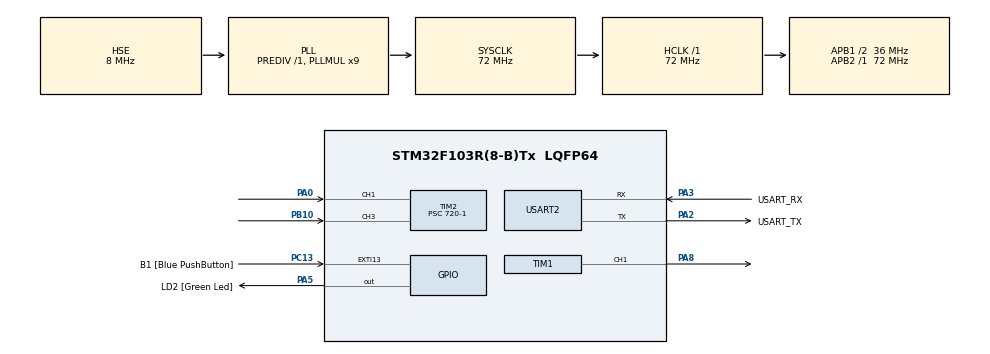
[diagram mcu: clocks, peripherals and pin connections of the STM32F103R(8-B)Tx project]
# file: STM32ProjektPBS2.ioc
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Dma.Request0=USART2_RX
Dma.Request1=USART2_TX
Dma.Request2=TIM1_CH1
Dma.Request3=TIM2_CH1
Dma.Request4=TIM2_CH3
Dma.TIM1_CH1.2.Direction=DMA_MEMORY_TO_PERIPH
Dma.TIM1_CH1.2.Instance=DMA1_Channel2
Dma.TIM1_CH1.2.MemDataAlignment=DMA_MDATAALIGN_HALFWORD
Dma.TIM1_CH1.2.MemInc=DMA_MINC_ENABLE
Dma.TIM1_CH1.2.Mode=DMA_CIRCULAR
Dma.TIM1_CH1.2.PeriphDataAlignment=DMA_PDATAALIGN_HALFWORD
Dma.TIM1_CH1.2.PeriphInc=DMA_PINC_DISABLE
Dma.TIM1_CH1.2.Priority=DMA_PRIORITY_LOW
Dma.TIM2_CH1.3.Direction=DMA_PERIPH_TO_MEMORY
Dma.TIM2_CH1.3.Instance=DMA1_Channel5
Dma.TIM2_CH1.3.MemDataAlignment=DMA_MDATAALIGN_HALFWORD
Dma.TIM2_CH1.3.MemInc=DMA_MINC_ENABLE
Dma.TIM2_CH1.3.Mode=DMA_NORMAL
Dma.TIM2_CH1.3.PeriphDataAlignment=DMA_PDATAALIGN_HALFWORD
Dma.TIM2_CH1.3.PeriphInc=DMA_PINC_DISABLE
Dma.TIM2_CH1.3.Priority=DMA_PRIORITY_LOW
Dma.TIM2_CH3.4.Direction=DMA_PERIPH_TO_MEMORY
Dma.TIM2_CH3.4.Instance=DMA1_Channel1
Dma.TIM2_CH3.4.MemDataAlignment=DMA_MDATAALIGN_HALFWORD
Dma.TIM2_CH3.4.MemInc=DMA_MINC_ENABLE
Dma.TIM2_CH3.4.Mode=DMA_NORMAL
Dma.TIM2_CH3.4.PeriphDataAlignment=DMA_PDATAALIGN_HALFWORD
Dma.TIM2_CH3.4.PeriphInc=DMA_PINC_DISABLE
Dma.TIM2_CH3.4.Priority=DMA_PRIORITY_LOW
Dma.USART2_RX.0.Direction=DMA_PERIPH_TO_MEMORY
Dma.USART2_RX.0.Instance=DMA1_Channel6
Dma.USART2_RX.0.MemDataAlignment=DMA_MDATAALIGN_BYTE
Dma.USART2_RX.0.MemInc=DMA_MINC_ENABLE
Dma.USART2_RX.0.Mode=DMA_CIRCULAR
Dma.USART2_RX.0.PeriphDataAlignment=DMA_PDATAALIGN_BYTE
Dma.USART2_RX.0.PeriphInc=DMA_PINC_DISABLE
Dma.USART2_RX.0.Priority=DMA_PRIORITY_LOW
Dma.USART2_TX.1.Direction=DMA_MEMORY_TO_PERIPH
Dma.USART2_TX.1.Instance=DMA1_Channel7
Dma.USART2_TX.1.MemDataAlignment=DMA_MDATAALIGN_BYTE
Dma.USART2_TX.1.MemInc=DMA_MINC_ENABLE
Dma.USART2_TX.1.Mode=DMA_CIRCULAR
Dma.USART2_TX.1.PeriphDataAlignment=DMA_PDATAALIGN_BYTE
Dma.USART2_TX.1.PeriphInc=DMA_PINC_DISABLE
Dma.USART2_TX.1.Priority=DMA_PRIORITY_LOW
Mcu.Family=STM32F1
Mcu.Name=STM32F103R(8-B)Tx
Mcu.Package=LQFP64
NVIC.DMA1_Channel1_IRQn=true\:0\:0\:false\:false\:true\:false\:true\:true
NVIC.DMA1_Channel2_IRQn=true\:0\:0\:false\:false\:true\:false\:true\:true
NVIC.DMA1_Channel5_IRQn=true\:0\:0\:false\:false\:true\:false\:true\:true
NVIC.DMA1_Channel6_IRQn=true\:0\:0\:false\:false\:true\:false\:true\:true
NVIC.DMA1_Channel7_IRQn=true\:0\:0\:false\:false\:true\:false\:true\:true
NVIC.EXTI15_10_IRQn=true\:0\:0\:false\:false\:true\:true\:true\:true
NVIC.PriorityGroup=NVIC_PRIORITYGROUP_4
NVIC.USART2_IRQn=true\:0\:0\:false\:false\:true\:true\:true\:true
PA0-WKUP.Signal=S_TIM2_CH1_ETR
PA13.GPIO_Label=TMS
PA13.Mode=Serial_Wire
PA13.Signal=SYS_JTMS-SWDIO
PA14.GPIO_Label=TCK
PA14.Mode=Serial_Wire
PA14.Signal=SYS_JTCK-SWCLK
PA2.GPIO_Label=USART_TX
PA2.GPIO_Mode=GPIO_MODE_AF_PP
PA2.GPIO_PuPd=GPIO_NOPULL
PA2.GPIO_Speed=GPIO_SPEED_FREQ_LOW
PA2.Mode=Asynchronous
PA2.Signal=USART2_TX
PA3.GPIO_Label=USART_RX
PA3.GPIO_Mode=GPIO_MODE_AF_PP
PA3.GPIO_PuPd=GPIO_NOPULL
PA3.GPIO_Speed=GPIO_SPEED_FREQ_LOW
PA3.Mode=Asynchronous
PA3.Signal=USART2_RX
PA5.GPIO_Label=LD2 [Green Led]
PA5.GPIO_ModeDefaultOutputPP=GPIO_MODE_OUTPUT_PP
PA5.GPIO_PuPd=GPIO_NOPULL
PA5.GPIO_Speed=GPIO_SPEED_FREQ_LOW
PA5.Signal=GPIO_Output
PA8.Signal=S_TIM1_CH1
PB10.Signal=S_TIM2_CH3
PB3.GPIO_Label=SWO
PB3.Signal=SYS_JTDO-TRACESWO
PC13-TAMPER-RTC.GPIO_Label=B1 [Blue PushButton]
PC13-TAMPER-RTC.GPIO_PuPd=GPIO_NOPULL
PC13-TAMPER-RTC.Signal=GPXTI13
PC14-OSC32_IN.Signal=RCC_OSC32_IN
PC15-OSC32_OUT.Signal=RCC_OSC32_OUT
PD0-OSC_IN.Mode=HSE-External-Oscillator
PD0-OSC_IN.Signal=RCC_OSC_IN
PD1-OSC_OUT.Mode=HSE-External-Oscillator
PD1-OSC_OUT.Signal=RCC_OSC_OUT
ProjectManager.HeapSize=0x200
ProjectManager.StackSize=0x400
ProjectManager.TargetToolchain=STM32CubeIDE
RCC.AHBFreq_Value=72000000
RCC.APB1CLKDivider=RCC_HCLK_DIV2
RCC.APB1Freq_Value=36000000
RCC.APB1TimFreq_Value=72000000
RCC.APB2Freq_Value=72000000
RCC.APB2TimFreq_Value=72000000
RCC.HCLKFreq_Value=72000000
RCC.PLLMUL=RCC_PLL_MUL9
RCC.PLLSourceVirtual=RCC_PLLSOURCE_HSE
RCC.RTCClockSelection=RCC_RTCCLKSOURCE_LSE
RCC.SYSCLKFreq_VALUE=72000000
RCC.SYSCLKSource=RCC_SYSCLKSOURCE_PLLCLK
RCC.USBFreq_Value=72000000
SH.S_TIM1_CH1.0=TIM1_CH1,PWM Generation1 CH1
SH.S_TIM2_CH1_ETR.0=TIM2_CH1,Input_Capture1_from_TI1
SH.S_TIM2_CH3.0=TIM2_CH3,Input_Capture3_from_TI3
TIM1.Channel-PWM\ Generation1\ CH1=TIM_CHANNEL_1
TIM1.OCIdleState_1=TIM_OCIDLESTATE_RESET
TIM1.Period=999
TIM1.Prescaler=720-1
TIM2.Channel-Input_Capture1_from_TI1=TIM_CHANNEL_1
TIM2.Channel-Input_Capture3_from_TI3=TIM_CHANNEL_3
TIM2.Period=65535
TIM2.Prescaler=720-1
USART2.VirtualMode=VM_ASYNC
VP_CRC_VS_CRC.Mode=CRC_Activate
VP_TIM1_VS_ClockSourceINT.Mode=Internal
VP_TIM2_VS_ClockSourceINT.Mode=Internal
board=NUCLEO-F103RB

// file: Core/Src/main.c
/* USER CODE BEGIN Header */
/**
  ******************************************************************************
  * @file           : main.c
  * @brief          : Main program body
  ******************************************************************************
  * @attention
  *
  * Copyright (c) 2022 STMicroelectronics.
  * All rights reserved.
  *
  * This software is licensed under terms that can be found in the LICENSE file
  * in the root directory of this software component.
  * If no LICENSE file comes with this software, it is provided AS-IS.
  *
  ******************************************************************************
  */
/* USER CODE END Header */
#include "main.h"

/* USER CODE BEGIN Includes */
#include <stdint.h>
#include <stdio.h>
#include <string.h>
#include <stdarg.h>
#include <math.h>
/* USER CODE END Includes */

CRC_HandleTypeDef hcrc;

TIM_HandleTypeDef htim1;
TIM_HandleTypeDef htim2;
DMA_HandleTypeDef hdma_tim1_ch1;
DMA_HandleTypeDef hdma_tim2_ch1;
DMA_HandleTypeDef hdma_tim2_ch3;

UART_HandleTypeDef huart2;
DMA_HandleTypeDef hdma_usart2_rx;
DMA_HandleTypeDef hdma_usart2_tx;

/* USER CODE BEGIN PV */

#define BUFF_SIZE 512
#define USART_TXBUF_LEN 128
#define USART_RXBUF_LEN 256

/*	Bufor odbiorczy	*/
uint8_t USART_RxBuf[USART_RXBUF_LEN];
__IO int USART_RX_Empty = 0; //wskaznik zapisu
__IO int USART_RX_Busy = 0; //wskaznik odczytu

/*	Bufor nadawczy	*/
uint8_t USART_TxBuf[USART_TXBUF_LEN];
__IO int USART_TX_Empty = 0;
__IO int USART_TX_Busy = 0;

/*	Ramka	*/
uint8_t buforRamki[USART_RXBUF_LEN];
uint8_t stan = 0;

char device_address[4]="STM";
char source_address[4]="USR";
char destination_address[4];
uint16_t dlugoscRamki = 0;
int cmdLength;
uint8_t znak;
char wiadomosc[USART_RXBUF_LEN];

//======= ZMIENNE - suma kontrolna ===========
char suma_kontrolna[6];
uint16_t suma_wyliczona = 0;
int podana_suma_kontrolna=0;

/*	Zegar	*/
uint16_t buffT1[BUFF_SIZE];
uint32_t IC_Values[2] = {0, 0};  // Bufor DMA: [0] - period, [1] - duty
uint32_t pwmPeriod = 0;          // Zmienna przechowująca okres sygnału PWM
uint32_t pwmDuty = 0;            // Zmienna przechowująca szerokość impulsu (duty cycle)
uint16_t pwmBuffer[BUFF_SIZE];
uint32_t setFrequency = 0;

/* USER CODE END PV */

void SystemClock_Config(void);
static void MX_GPIO_Init(void);
static void MX_DMA_Init(void);
static void MX_USART2_UART_Init(void);
static void MX_TIM1_Init(void);
static void MX_TIM2_Init(void);
static void MX_CRC_Init(void);

/* USER CODE BEGIN 0 */

//	Liczenie sumy
uint16_t CRC16(const char *data, size_t length) {
    uint16_t crc = 0xFFFF; // Wartość początkowa
    uint16_t poly = 0xA001; // Polinom CRC16

    for (size_t i = 0; i < length; i++) {
        crc ^= (uint16_t)data[i]; // XOR z bieżącym bajtem

        for (int j = 0; j < 8; j++) { // 8 iteracji dla każdego bitu bajtu
            if (crc & 0x0001) {
                crc = (crc >> 1) ^ poly; // XOR z polinomem, gdy najniższy bit jest ustawiony
            } else {
                crc >>= 1; // Przesunięcie w prawo
            }
        }
    }
    return crc; // Zwróć wynik w 16 bitach
}

//		Obsługa przerwań
/*  USART CALLABACK ODBIOR	*/
void HAL_UART_RxCpltCallback(UART_HandleTypeDef *huart){
	if(huart == &huart2){
		USART_RX_Empty++;
		if(USART_RX_Empty >= USART_RXBUF_LEN)
			USART_RX_Empty = 0;
		HAL_UART_Receive_IT(&huart2, &USART_RxBuf[USART_RX_Empty], 1);
	}
}

/*  USART CALLABACK NADAWAWNIE	*/
void HAL_UART_TxCpltCallback(UART_HandleTypeDef *huart){
	if(huart == &huart2){
		if(USART_TX_Empty != USART_TX_Busy){
			uint8_t tmp = USART_TxBuf[USART_TX_Busy];
			USART_TX_Busy++;
			if(USART_TX_Busy >= USART_TXBUF_LEN)
				USART_TX_Busy = 0;
			HAL_UART_Transmit_IT(&huart2, &tmp, 1);
		}
	}
}

/* Obsługa timerów*/

void HAL_DMA_TxHalfCpltCallback(DMA_HandleTypeDef *hdma) {
    if (hdma == &hdma_tim1_ch1) {
        // Aktualizacja danych w pierwszej połowie bufora
        for (int i = 0; i < BUFF_SIZE / 2; i++) {
            buffT1[i] = (i % 100) + 100;
        }
    }
}

void HAL_DMA_TxCpltCallback(DMA_HandleTypeDef *hdma) {
    if (hdma == &hdma_tim1_ch1) {
        // Aktualizacja danych w drugiej połowie bufora
        for (int i = BUFF_SIZE / 2; i < BUFF_SIZE; i++) {
            buffT1[i] = (i % 100) + 200;
        }
    }
}

void HAL_TIM_PeriodElapsedCallback(TIM_HandleTypeDef *htim) {
    if (htim->Instance == TIM2) {
        pwmPeriod = IC_Values[0]; // Okres PWM
        pwmDuty = IC_Values[1];   // Szerokość impulsu PWM (wypełnienie)
    }
}

/*	USART_fsend	*/
void USART_fsend(char* format, ...){
	char tmp_rs[128];
	int i;
	__IO int idx;
	va_list arglist; //tworzenie listy argumentów
	va_start(arglist, format);
	vsprintf(tmp_rs, format, arglist); //przenoszenie danych z listy do tablicy
	va_end(arglist);
	idx = USART_TX_Empty; //przypisywanie pozycji wskaźnika do wskaźnika pomocniczego

	for(i=0; i<strlen(tmp_rs); i++){ //przenoszenie danych do bufora
		USART_TxBuf[idx] = tmp_rs[i]; // Zapisanie danych do bufora nadawczego
		idx++;
		if(idx >= USART_TXBUF_LEN) //sprawdzanie zakresu wskaźnika
			idx = 0;
	}
	__disable_irq();
	if((USART_TX_Empty == USART_TX_Busy) && (__HAL_UART_GET_FLAG(&huart2, UART_FLAG_TXE) == SET)){
		USART_TX_Empty = idx; // Aktualizacja wskaźnika pustego
		uint8_t tmp = USART_TxBuf[USART_TX_Busy]; // Pobranie pierwszego bajtu do wysyłki
		USART_TX_Busy++;
		if(USART_TX_Busy >= USART_TXBUF_LEN) //// Obsługa przepełnienia wskaźnika
			USART_TX_Busy = 0;
		HAL_UART_Transmit_IT(&huart2, &tmp, 1);
	}else{
		USART_TX_Empty = idx;
	}
	__enable_irq();
}

/*   Analiza komendy / Obsługa rozkazów   */
void analizaKomendy(char cmd[]) {
	if (!strncmp(cmd, "SET_PWM", 7)) {
	    uint16_t newDuty = atoi(&cmd[7]);

	    if (newDuty <= 100) {  // Wypełnienie w % (0-100%)
	        uint32_t period = __HAL_TIM_GET_AUTORELOAD(&htim1); // Pobranie aktualnego okresu
	        uint32_t ccr = (newDuty * (period + 1)) / 100; // Obliczenie wartości CCR

	        __HAL_TIM_SET_COMPARE(&htim1, TIM_CHANNEL_1, ccr); // Ustawienie nowego wypełnienia PWM

	        uint8_t data[20];
	        snprintf((char*)data, sizeof(data), "CURRENT_PWM:%u", newDuty);
	        uint16_t checksum = CRC16(data, strlen((char*)data));
	        sprintf(wiadomosc, "!%s%s%05uCURRENT_PWM:%u;\r\n", device_address, source_address, checksum, newDuty);
	        USART_fsend(wiadomosc);
	    } else {
	        errorKomenda();
	    }

    } else if (!strncmp(cmd, "SET_FREQ", 8)) {
        uint32_t newFreq = atoi(&cmd[8]);
        if (newFreq > 0 && newFreq <= 36000000) { // Możemy ustawić do 36 MHz
            uint32_t prescaler = 0;
            uint32_t period;

            // Automatyczne dobieranie preskalera i ARR
            while ((72000000 / (prescaler + 1)) > (newFreq * 65536)) {
                prescaler++;
            }

            period = (72000000 / ((prescaler + 1) * newFreq)) - 1;
            __HAL_TIM_SET_PRESCALER(&htim1, prescaler);
            __HAL_TIM_SET_AUTORELOAD(&htim1, period);

            setFrequency=newFreq;

            uint8_t data[20];
            snprintf((char*)data, sizeof(data), "CURRENT_FREQ:%lu", newFreq);
            uint16_t checksum = CRC16(data, strlen((char*)data));
            sprintf(wiadomosc, "!%s%s%05uCURRENT_FREQ:%lu;\r\n", device_address, source_address, checksum, newFreq);
            USART_fsend(wiadomosc);
        } else {
            errorKomenda();
        }

    } else if (!strncmp(cmd, "GET_IN_PWM", 10)) { // Pobranie aktualnego okresu i wypełnienia PWM
        uint32_t frequency;
        uint32_t duty_cycle;

        if (pwmPeriod > 0) {
            // Obliczenie częstotliwości i wypełnienia na podstawie DMA
            frequency = 72000000 / pwmPeriod;
            duty_cycle = (pwmDuty * 100) / pwmPeriod; // Pełne % wypełnienia
        } else {
            // Brak sygnału wejściowego – zwróć ostatnio ustawioną wartość częstotliwości
            frequency = setFrequency;
            duty_cycle = (__HAL_TIM_GET_COMPARE(&htim1, TIM_CHANNEL_1) * 100) / (__HAL_TIM_GET_AUTORELOAD(&htim1) + 1);
        }

        uint8_t data[40];
        snprintf((char*)data, sizeof(data), "FREQ:%luHz DUTY:%lu%%", frequency, duty_cycle);
        uint16_t checksum = CRC16(data, strlen((char*)data));

        sprintf(wiadomosc, "!%s%s%05uFREQ:%luHz DUTY:%lu%%;\r\n",
                device_address, source_address, checksum, frequency, duty_cycle);
        USART_fsend(wiadomosc);
    }
}

/*   Komunikaty zwrotne   */
void start() {
    uint8_t data[6 + strlen("START")]; // 3 bajty adresu źródła, 3 bajty adresu urządzenia, długość komendy
    memcpy(data, source_address, 3);
    memcpy(data + 3, device_address, 3);
    memcpy(data + 6, "START", strlen("START"));
    uint16_t crc = CRC16(data, sizeof(data));
    sprintf(wiadomosc, "!%s%s%05uSTART;\r\n", device_address, source_address, crc);
    USART_fsend(wiadomosc);
}

void odebranoRamke() {
    uint8_t data[6 + strlen("OdebranoRamke")];
    memcpy(data, source_address, 3);
    memcpy(data + 3, device_address, 3);
    memcpy(data + 6, "OdebranoRamke", strlen("OdebranoRamke"));
    uint16_t crc = CRC16(data, sizeof(data));
    sprintf(wiadomosc, "!%s%s%05uOdebranoRamke;\r\n", device_address, source_address, crc);
    USART_fsend(wiadomosc);
}

void errorKomenda() {
    uint8_t data[6 + strlen("CMDError")];
    memcpy(data, source_address, 3);
    memcpy(data + 3, device_address, 3);
    memcpy(data + 6, "CMDError", strlen("CMDError"));
    uint16_t crc = CRC16(data, sizeof(data));
    sprintf(wiadomosc, "!%s%s%05uCMDError;\r\n", device_address, source_address, crc);
    USART_fsend(wiadomosc);
}

void errorSumaKontrolna() {
    uint8_t data[6 + strlen("SUMError")];
    memcpy(data, source_address, 3);
    memcpy(data + 3, device_address, 3);
    memcpy(data + 6, "SUMError", strlen("SUMError"));
    uint16_t crc = CRC16(data, sizeof(data));
    sprintf(wiadomosc, "!%s%s%05uSUMError;\r\n", device_address, source_address, crc);
    USART_fsend(wiadomosc);
}

/* USER CODE END 0 */

int main(void)
{

  /* MCU Configuration--------------------------------------------------------*/

  /* Reset of all peripherals, Initializes the Flash interface and the Systick. */
  HAL_Init();

  /* Configure the system clock */
  SystemClock_Config();

  /* Initialize all configured peripherals */
  MX_GPIO_Init();
  MX_DMA_Init();
  MX_USART2_UART_Init();
  MX_TIM1_Init();
  MX_TIM2_Init();
  MX_CRC_Init();
  /* USER CODE BEGIN 2 */

  	  for (int i = 0; i < BUFF_SIZE; i++) {
  		  pwmBuffer[i] = 500; // Wypełnienie 50%
  	  }

  	  HAL_TIM_IC_Start_DMA(&htim2, TIM_CHANNEL_1, &IC_Values[0], 1); // Okres PWM
  	  HAL_TIM_IC_Start_DMA(&htim2, TIM_CHANNEL_3, &IC_Values[1], 1); // Wypełnienie

  	  //HAL_TIM_PWM_Start_DMA(&htim2, TIM_CHANNEL_2, buffT2, 512);

  	  HAL_UART_Receive_IT(&huart2, &USART_RxBuf[USART_RX_Empty], 1); //inicjalizacja odbierania znaku
  	  start();
  /* USER CODE END 2 */

  /* Infinite loop */
  /* USER CODE BEGIN WHILE */
  	while (1) {
  	    if (USART_RX_Busy != USART_RX_Empty) {
  	        char znak = USART_RxBuf[USART_RX_Busy];
  	        USART_RX_Busy++;
  	        if (USART_RX_Busy >= USART_RXBUF_LEN) USART_RX_Busy = 0;

  	        if (znak == '!') {
  	            stan = 1;
  	            dlugoscRamki = 0;
  	        } else if (stan == 1) {
  	        	if (znak == ';') {
  	                buforRamki[dlugoscRamki] = '\0'; // Dodanie znaku końca

  	                if (dlugoscRamki >= 11) { // Minimalna długość ramki
  	                    memcpy(source_address, &buforRamki[0], 3);
  	                    memcpy(destination_address, &buforRamki[3], 3);
  	                    memcpy(suma_kontrolna, &buforRamki[6], 5);

  	                    source_address[3] = '\0';
  	                    destination_address[3] = '\0';
  	                    suma_kontrolna[5] = '\0';

  	                    // Konwersja sumy kontrolnej na liczbę
  	                    podana_suma_kontrolna = atoi(suma_kontrolna);

  	                    // Obliczenie długości komendy
  	                    cmdLength = dlugoscRamki - 11;
  	                    if (strncmp(device_address, destination_address, 3) == 0) {
  	                        char cmd[cmdLength + 1];
  	                        memcpy(cmd, &buforRamki[11], cmdLength);
  	                        cmd[cmdLength] = '\0';

  	                        // Przygotowanie danych do CRC
  	                        uint8_t data[6 + cmdLength]; // Adresy + komenda
  	                        memcpy(data, source_address, 3);
  	                        memcpy(data + 3, destination_address, 3);
  	                        memcpy(data + 6, cmd, cmdLength);

  	                        // Obliczanie sumy kontrolnej
  	                        suma_wyliczona = CRC16(data, sizeof(data));

  	                        // Weryfikacja sumy kontrolnej
  	                        if (podana_suma_kontrolna == suma_wyliczona) {
  	                            odebranoRamke();
  	                            analizaKomendy(cmd);
  	                        } else {
  	                            errorSumaKontrolna();
  	                        }
  	                        suma_wyliczona = 0; // Resetowanie sumy
  	                    }
  	                }

  	                stan = 0; // Powrót do stanu początkowego
  	                dlugoscRamki = 0;
  	            } else {
  	                buforRamki[dlugoscRamki++] = znak;
  	                if (dlugoscRamki >= 77) {
  	                    dlugoscRamki = 0;
  	                    stan = 0; //
  	                }
  	            }
  	    }
  	}
  	}
    /* USER CODE END WHILE */

}

void SystemClock_Config(void)
{
  RCC_OscInitTypeDef RCC_OscInitStruct = {0};
  RCC_ClkInitTypeDef RCC_ClkInitStruct = {0};

  /** Initializes the RCC Oscillators according to the specified parameters
  * in the RCC_OscInitTypeDef structure.
  */
  RCC_OscInitStruct.OscillatorType = RCC_OSCILLATORTYPE_HSE;
  RCC_OscInitStruct.HSEState = RCC_HSE_ON;
  RCC_OscInitStruct.HSEPredivValue = RCC_HSE_PREDIV_DIV1;
  RCC_OscInitStruct.HSIState = RCC_HSI_ON;
  RCC_OscInitStruct.PLL.PLLState = RCC_PLL_ON;
  RCC_OscInitStruct.PLL.PLLSource = RCC_PLLSOURCE_HSE;
  RCC_OscInitStruct.PLL.PLLMUL = RCC_PLL_MUL9;
  if (HAL_RCC_OscConfig(&RCC_OscInitStruct) != HAL_OK)
  {
    Error_Handler();
  }

  /** Initializes the CPU, AHB and APB buses clocks
  */
  RCC_ClkInitStruct.ClockType = RCC_CLOCKTYPE_HCLK|RCC_CLOCKTYPE_SYSCLK
                              |RCC_CLOCKTYPE_PCLK1|RCC_CLOCKTYPE_PCLK2;
  RCC_ClkInitStruct.SYSCLKSource = RCC_SYSCLKSOURCE_PLLCLK;
  RCC_ClkInitStruct.AHBCLKDivider = RCC_SYSCLK_DIV1;
  RCC_ClkInitStruct.APB1CLKDivider = RCC_HCLK_DIV2;
  RCC_ClkInitStruct.APB2CLKDivider = RCC_HCLK_DIV1;

  if (HAL_RCC_ClockConfig(&RCC_ClkInitStruct, FLASH_LATENCY_2) != HAL_OK)
  {
    Error_Handler();
  }
}

static void MX_CRC_Init(void)
{

  hcrc.Instance = CRC;
  if (HAL_CRC_Init(&hcrc) != HAL_OK)
  {
    Error_Handler();
  }

}

static void MX_TIM1_Init(void)
{

  TIM_ClockConfigTypeDef sClockSourceConfig = {0};
  TIM_MasterConfigTypeDef sMasterConfig = {0};
  TIM_OC_InitTypeDef sConfigOC = {0};
  TIM_BreakDeadTimeConfigTypeDef sBreakDeadTimeConfig = {0};

  htim1.Instance = TIM1;
  htim1.Init.Prescaler = 720-1;
  htim1.Init.CounterMode = TIM_COUNTERMODE_UP;
  htim1.Init.Period = 999;
  htim1.Init.ClockDivision = TIM_CLOCKDIVISION_DIV1;
  htim1.Init.RepetitionCounter = 0;
  htim1.Init.AutoReloadPreload = TIM_AUTORELOAD_PRELOAD_DISABLE;
  if (HAL_TIM_Base_Init(&htim1) != HAL_OK)
  {
    Error_Handler();
  }
  sClockSourceConfig.ClockSource = TIM_CLOCKSOURCE_INTERNAL;
  if (HAL_TIM_ConfigClockSource(&htim1, &sClockSourceConfig) != HAL_OK)
  {
    Error_Handler();
  }
  if (HAL_TIM_PWM_Init(&htim1) != HAL_OK)
  {
    Error_Handler();
  }
  sMasterConfig.MasterOutputTrigger = TIM_TRGO_RESET;
  sMasterConfig.MasterSlaveMode = TIM_MASTERSLAVEMODE_DISABLE;
  if (HAL_TIMEx_MasterConfigSynchronization(&htim1, &sMasterConfig) != HAL_OK)
  {
    Error_Handler();
  }
  sConfigOC.OCMode = TIM_OCMODE_PWM1;
  sConfigOC.Pulse = 0;
  sConfigOC.OCPolarity = TIM_OCPOLARITY_HIGH;
  sConfigOC.OCNPolarity = TIM_OCNPOLARITY_HIGH;
  sConfigOC.OCFastMode = TIM_OCFAST_DISABLE;
  sConfigOC.OCIdleState = TIM_OCIDLESTATE_RESET;
  sConfigOC.OCNIdleState = TIM_OCNIDLESTATE_RESET;
  if (HAL_TIM_PWM_ConfigChannel(&htim1, &sConfigOC, TIM_CHANNEL_1) != HAL_OK)
  {
    Error_Handler();
  }
  sBreakDeadTimeConfig.OffStateRunMode = TIM_OSSR_DISABLE;
  sBreakDeadTimeConfig.OffStateIDLEMode = TIM_OSSI_DISABLE;
  sBreakDeadTimeConfig.LockLevel = TIM_LOCKLEVEL_OFF;
  sBreakDeadTimeConfig.DeadTime = 0;
  sBreakDeadTimeConfig.BreakState = TIM_BREAK_DISABLE;
  sBreakDeadTimeConfig.BreakPolarity = TIM_BREAKPOLARITY_HIGH;
  sBreakDeadTimeConfig.AutomaticOutput = TIM_AUTOMATICOUTPUT_DISABLE;
  if (HAL_TIMEx_ConfigBreakDeadTime(&htim1, &sBreakDeadTimeConfig) != HAL_OK)
  {
    Error_Handler();
  }
  HAL_TIM_MspPostInit(&htim1);

}

static void MX_TIM2_Init(void)
{

  TIM_ClockConfigTypeDef sClockSourceConfig = {0};
  TIM_MasterConfigTypeDef sMasterConfig = {0};
  TIM_IC_InitTypeDef sConfigIC = {0};

  htim2.Instance = TIM2;
  htim2.Init.Prescaler = 720-1;
  htim2.Init.CounterMode = TIM_COUNTERMODE_UP;
  htim2.Init.Period = 65535;
  htim2.Init.ClockDivision = TIM_CLOCKDIVISION_DIV1;
  htim2.Init.AutoReloadPreload = TIM_AUTORELOAD_PRELOAD_DISABLE;
  if (HAL_TIM_Base_Init(&htim2) != HAL_OK)
  {
    Error_Handler();
  }
  sClockSourceConfig.ClockSource = TIM_CLOCKSOURCE_INTERNAL;
  if (HAL_TIM_ConfigClockSource(&htim2, &sClockSourceConfig) != HAL_OK)
  {
    Error_Handler();
  }
  if (HAL_TIM_IC_Init(&htim2) != HAL_OK)
  {
    Error_Handler();
  }
  sMasterConfig.MasterOutputTrigger = TIM_TRGO_RESET;
  sMasterConfig.MasterSlaveMode = TIM_MASTERSLAVEMODE_DISABLE;
  if (HAL_TIMEx_MasterConfigSynchronization(&htim2, &sMasterConfig) != HAL_OK)
  {
    Error_Handler();
  }
  sConfigIC.ICPolarity = TIM_INPUTCHANNELPOLARITY_RISING;
  sConfigIC.ICSelection = TIM_ICSELECTION_DIRECTTI;
  sConfigIC.ICPrescaler = TIM_ICPSC_DIV1;
  sConfigIC.ICFilter = 0;
  if (HAL_TIM_IC_ConfigChannel(&htim2, &sConfigIC, TIM_CHANNEL_1) != HAL_OK)
  {
    Error_Handler();
  }
  if (HAL_TIM_IC_ConfigChannel(&htim2, &sConfigIC, TIM_CHANNEL_3) != HAL_OK)
  {
    Error_Handler();
  }

}

static void MX_USART2_UART_Init(void)
{

  huart2.Instance = USART2;
  huart2.Init.BaudRate = 115200;
  huart2.Init.WordLength = UART_WORDLENGTH_8B;
  huart2.Init.StopBits = UART_STOPBITS_1;
  huart2.Init.Parity = UART_PARITY_NONE;
  huart2.Init.Mode = UART_MODE_TX_RX;
  huart2.Init.HwFlowCtl = UART_HWCONTROL_NONE;
  huart2.Init.OverSampling = UART_OVERSAMPLING_16;
  if (HAL_UART_Init(&huart2) != HAL_OK)
  {
    Error_Handler();
  }

}

static void MX_DMA_Init(void)
{

  /* DMA controller clock enable */
  __HAL_RCC_DMA1_CLK_ENABLE();

  /* DMA interrupt init */
  /* DMA1_Channel1_IRQn interrupt configuration */
  HAL_NVIC_SetPriority(DMA1_Channel1_IRQn, 0, 0);
  HAL_NVIC_EnableIRQ(DMA1_Channel1_IRQn);
  /* DMA1_Channel2_IRQn interrupt configuration */
  HAL_NVIC_SetPriority(DMA1_Channel2_IRQn, 0, 0);
  HAL_NVIC_EnableIRQ(DMA1_Channel2_IRQn);
  /* DMA1_Channel5_IRQn interrupt configuration */
  HAL_NVIC_SetPriority(DMA1_Channel5_IRQn, 0, 0);
  HAL_NVIC_EnableIRQ(DMA1_Channel5_IRQn);
  /* DMA1_Channel6_IRQn interrupt configuration */
  HAL_NVIC_SetPriority(DMA1_Channel6_IRQn, 0, 0);
  HAL_NVIC_EnableIRQ(DMA1_Channel6_IRQn);
  /* DMA1_Channel7_IRQn interrupt configuration */
  HAL_NVIC_SetPriority(DMA1_Channel7_IRQn, 0, 0);
  HAL_NVIC_EnableIRQ(DMA1_Channel7_IRQn);

}

static void MX_GPIO_Init(void)
{
  GPIO_InitTypeDef GPIO_InitStruct = {0};

  /* GPIO Ports Clock Enable */
  __HAL_RCC_GPIOC_CLK_ENABLE();
  __HAL_RCC_GPIOD_CLK_ENABLE();
  __HAL_RCC_GPIOA_CLK_ENABLE();
  __HAL_RCC_GPIOB_CLK_ENABLE();

  /*Configure GPIO pin Output Level */
  HAL_GPIO_WritePin(LD2_GPIO_Port, LD2_Pin, GPIO_PIN_RESET);

  /*Configure GPIO pin : B1_Pin */
  GPIO_InitStruct.Pin = B1_Pin;
  GPIO_InitStruct.Mode = GPIO_MODE_IT_RISING;
  GPIO_InitStruct.Pull = GPIO_NOPULL;
  HAL_GPIO_Init(B1_GPIO_Port, &GPIO_InitStruct);

  /*Configure GPIO pin : LD2_Pin */
  GPIO_InitStruct.Pin = LD2_Pin;
  GPIO_InitStruct.Mode = GPIO_MODE_OUTPUT_PP;
  GPIO_InitStruct.Pull = GPIO_NOPULL;
  GPIO_InitStruct.Speed = GPIO_SPEED_FREQ_LOW;
  HAL_GPIO_Init(LD2_GPIO_Port, &GPIO_InitStruct);

  /* EXTI interrupt init*/
  HAL_NVIC_SetPriority(EXTI15_10_IRQn, 0, 0);
  HAL_NVIC_EnableIRQ(EXTI15_10_IRQn);

}

void Error_Handler(void)
{
  __disable_irq();
  while (1)
  {
  }
}
